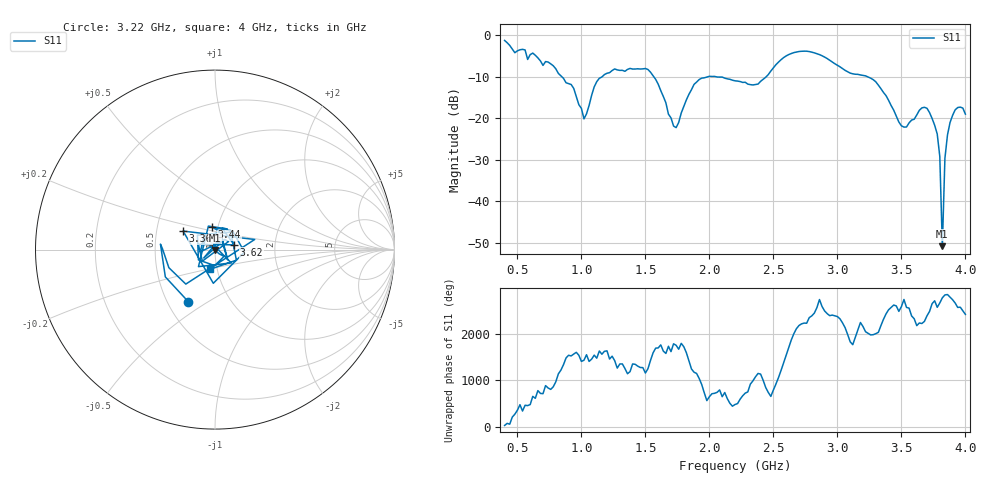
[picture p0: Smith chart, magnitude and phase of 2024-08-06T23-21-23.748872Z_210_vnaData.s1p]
!Created with skrf (http://scikit-rf.org).
# Hz S RI R 50.0
!freq ReS11 ImS11
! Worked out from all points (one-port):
!   181 points, 400 MHz to 4 GHz, reference 50 ohm
!   lowest |S11| = -50.9 dB at 3.82 GHz (marker M1), VSWR 1.01, Z = 49.9 - j0.274 ohm
!   |S11| at or under -10 dB: 1.567 GHz to 1.984 GHz (417.3 MHz wide, 23.5 % of centre); 2.058 GHz to 2.442 GHz (384.6 MHz wide, 17.1 % of centre); 3.239 GHz to end of sweep (the widest 3 of 4)
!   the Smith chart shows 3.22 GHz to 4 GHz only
!   S11 on the Smith chart (normalised r, x): 3.22 GHz: 0.64, -0.41; 3.36 GHz: 0.69, +0.15; 3.44 GHz: 0.94, +0.24; 3.62 GHz: 1.24, +0.07; 4 GHz: 0.93, -0.21
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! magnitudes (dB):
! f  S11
! 400 MHz  -1.2
! 860 MHz  -10.3
! 940 MHz  -12.8
! 1.02 GHz  -20.1
! 1.12 GHz  -11.1
! 1.3 GHz  -8.4
! 1.52 GHz  -8.2
! 1.72 GHz  -21.9
! 1.76 GHz  -21.0
! 1.92 GHz  -10.6
! 2.2 GHz  -10.9
! 2.38 GHz  -11.7
! 2.66 GHz  -4.1
! 3.1 GHz  -9.1
! 3.22 GHz  -9.7
! 3.36 GHz  -13.8
! 3.44 GHz  -18.0
! 3.5 GHz  -21.8
! 3.56 GHz  -21.1
! 3.62 GHz  -19.2
! 3.7 GHz  -17.6
! 3.78 GHz  -23.8
! 3.8 GHz  -29.2
! 3.82 GHz  -50.9
! 3.84 GHz  -29.7
! 3.86 GHz  -24.0
! 3.92 GHz  -17.9
! 4 GHz  -19.0
